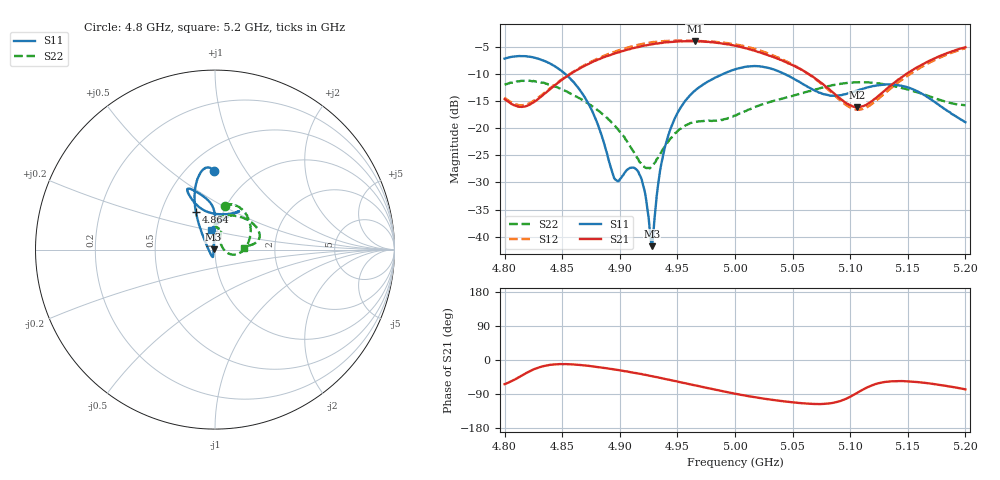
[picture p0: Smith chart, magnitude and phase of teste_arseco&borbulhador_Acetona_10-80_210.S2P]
! Network Analyzer HP8722D
! Hewlett-Packard
! Data name: Linha & Wilkinson
! Saver's name: Rodrigo Anjos
! Comments: Teste da utilização de aquisição
! continua pelo VNA HP8722D
! Time and date: 25/4/2025 17:01
!  Frequency  S11  S21  S12  S22
# HZ  S  MA R 50
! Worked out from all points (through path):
!   401 points, 4.8 GHz to 5.2 GHz, reference 50 ohm
!   highest |S21| = -3.97 dB at 4.965 GHz (marker M1); lowest = -16.2 dB at 5.106 GHz (marker M2)
!   lowest |S11| = -41.7 dB at 4.928 GHz (marker M3), VSWR 1.02, Z = 49.2 + j0.0931 ohm
!   |S11| at or under -10 dB: 4.852 GHz to 4.99 GHz (137.6 MHz wide, 2.8 % of centre); 5.043 GHz to end of sweep
!   |S22| runs from -27.4 to -11.3 dB; largest |S21 - S12| = 1.2
!   S11 on the Smith chart (normalised r, x): 4.8 GHz: 0.67, +0.72; 4.864 GHz: 0.75, +0.33; 5.2 GHz: 0.93, +0.21
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4.8e9  0.4357 91.0  0.1851 -63.7  0.1903 69.8  0.2503 77.3
4.82e9  0.4545 97.2  0.161 -32.5  0.1668 98.5  0.2731 61.5
4.843e9  0.3741 106.6  0.2449 -11.8  0.2484 118.8  0.2423 36.8
4.864e9  0.2342 117.0  0.3487 -12.7  0.3516 121.1  0.1902 12.3
4.867e9  0.2112 118.6  0.3625 -13.7  0.3669 120.7  0.1829 8.8
4.88e9  0.1143 128.8  0.4221 -18.4  0.4318 118.3  0.1483 -5.1
4.896e9  0.03367 -169.5  0.4887 -25.3  0.5046 113.4  0.1043 -15.5
4.91e9  0.0431 -109.1  0.5392 -32.4  0.5625 107.2  0.06533 -13.0
4.917e9  0.03742 -106.5  0.5613 -36.2  0.5879 103.5  0.04889 -0.4
4.921e9  0.02783 -110.7  0.5739 -38.5  0.5983 101.4  0.04421 12.5
4.928e9  0.008194 173.4  0.5914 -42.7  0.6154 97.1  0.0449 40.9
4.934e9  0.03456 100.8  0.6032 -46.7  0.6277 93.3  0.05597 57.3
4.939e9  0.06585 94.1  0.6136 -49.7  0.633 90.0  0.0677 64.6
4.946e9  0.1111 90.5  0.6228 -54.4  0.6374 85.7  0.08461 69.8
4.965e9  0.2198 91.4  0.6332 -66.9  0.6373 73.4  0.1137 70.9
5e9  0.3468 109.3  0.5732 -89.0  0.5904 50.8  0.1304 88.2
5.03e9  0.3558 115.3  0.4623 -104.0  0.4802 34.0  0.173 85.4
5.067e9  0.2277 105.8  0.301 -115.8  0.2974 23.7  0.2226 57.2
5.106e9  0.2209 65.3  0.1555 -87.0  0.1476 56.0  0.2632 24.8
5.134e9  0.2516 58.0  0.2405 -56.6  0.2259 88.8  0.248 12.3
5.169e9  0.1867 70.6  0.4173 -61.9  0.4016 85.0  0.1956 7.0
5.2e9  0.1134 101.0  0.5544 -77.4  0.5426 70.2  0.1622 3.8
